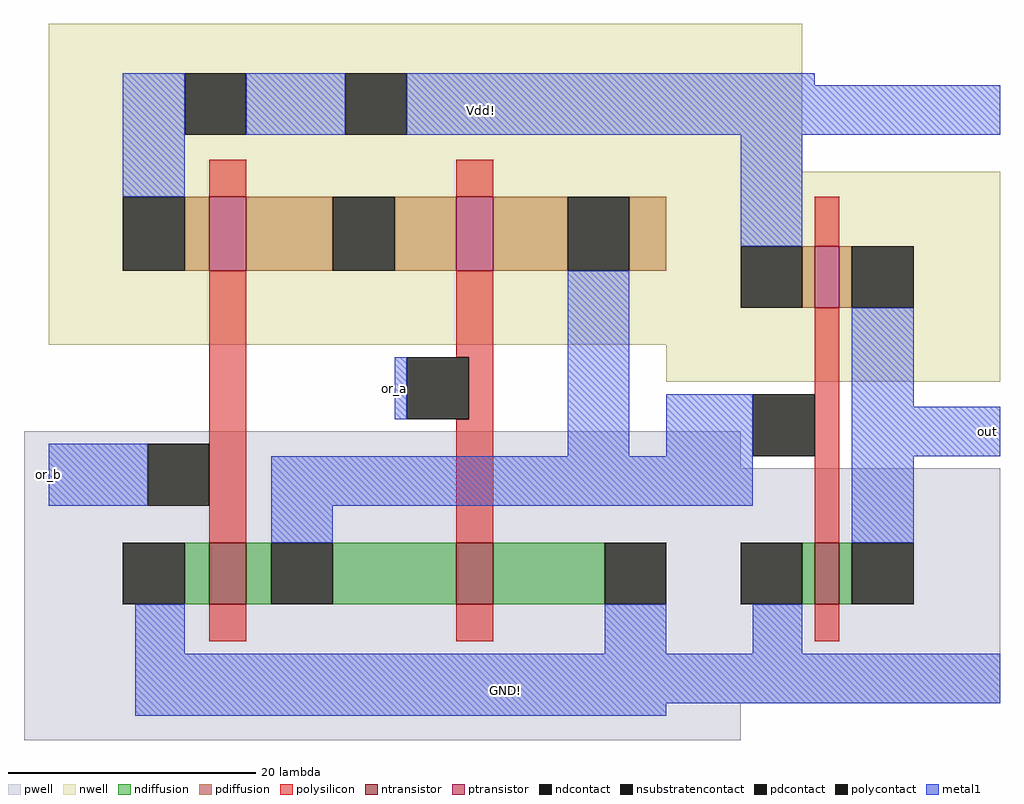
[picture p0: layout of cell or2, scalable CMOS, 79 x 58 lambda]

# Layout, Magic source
magic
tech scmos
<< nwell >>
rect -5 7 56 33
<< pwell >>
rect -7 -25 51 0
<< ntransistor >>
rect 8 -14 11 -9
rect 28 -14 31 -9
<< ptransistor >>
rect 8 13 11 19
rect 28 13 31 19
<< ndiffusion >>
rect 6 -14 8 -9
rect 11 -14 13 -9
rect 18 -14 28 -9
rect 31 -14 40 -9
<< pdiffusion >>
rect 6 13 8 19
rect 11 13 18 19
rect 23 13 28 19
rect 31 13 37 19
rect 42 13 45 19
<< ndcontact >>
rect 1 -14 6 -9
rect 13 -14 18 -9
rect 40 -14 45 -9
<< pdcontact >>
rect 1 13 6 19
rect 18 13 23 19
rect 37 13 42 19
<< nsubstratencontact >>
rect 6 24 11 29
rect 19 24 24 29
<< polysilicon >>
rect 8 19 11 22
rect 28 19 31 22
rect 8 -9 11 13
rect 28 6 31 13
rect 29 1 31 6
rect 28 -9 31 1
rect 8 -17 11 -14
rect 28 -17 31 -14
<< polycontact >>
rect 3 -6 8 -1
rect 24 1 29 6
<< metal1 >>
rect 1 19 6 29
rect 11 24 19 29
rect 24 24 57 29
rect 23 1 24 6
rect -5 -6 3 -1
rect 37 -2 42 13
rect 49 -2 52 1
rect 67 -2 71 2
rect 13 -6 52 -2
rect 13 -9 18 -6
rect 2 -18 6 -14
rect 40 -18 45 -14
rect 2 -22 56 -18
rect 2 -23 45 -22
use inv_add  inv_0
transform 1 0 50 0 1 4
box -5 -26 22 24
<< labels >>
rlabel metal1 32 -21 32 -21 1 GND!
rlabel metal1 23 1 23 6 1 or_a
rlabel metal1 -5 -6 -5 -1 3 or_b
rlabel metal1 32 -21 32 -21 1 Gnd!
rlabel metal1 71 -2 71 2 7 out
rlabel metal1 70 -2 70 2 7 or_out
rlabel metal1 30 26 30 26 1 Vdd!
<< end >>

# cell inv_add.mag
magic
tech scmos
<< nwell >>
rect -5 0 22 17
<< pwell >>
rect -5 -26 22 -7
<< ntransistor >>
rect 7 -18 9 -13
<< ptransistor >>
rect 7 6 9 11
<< ndiffusion >>
rect 6 -18 7 -13
rect 9 -18 10 -13
<< pdiffusion >>
rect 6 6 7 11
rect 9 6 10 11
<< ndcontact >>
rect 1 -18 6 -13
rect 10 -18 15 -13
<< pdcontact >>
rect 1 6 6 11
rect 10 6 15 11
<< polysilicon >>
rect 7 11 9 15
rect 7 -13 9 6
rect 7 -21 9 -18
<< polycontact >>
rect 2 -6 7 -1
<< metal1 >>
rect -5 20 22 24
rect 1 11 6 20
rect -5 -6 2 -1
rect 10 -2 15 6
rect 10 -6 22 -2
rect 10 -13 15 -6
rect 2 -22 6 -18
rect -5 -26 22 -22
<< labels >>
rlabel metal1 -5 -6 -5 -2 3 in
rlabel metal1 22 -6 22 -2 7 out
rlabel metal1 17 23 17 23 6 Vdd!
rlabel metal1 19 -24 19 -24 8 GND!
<< end >>
